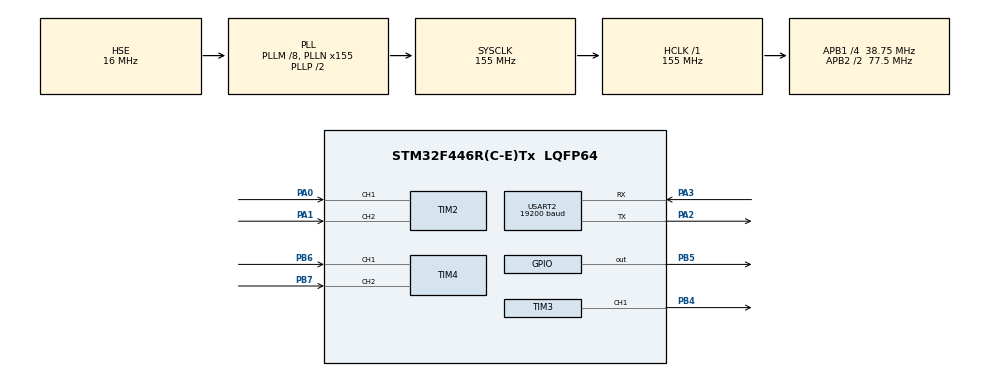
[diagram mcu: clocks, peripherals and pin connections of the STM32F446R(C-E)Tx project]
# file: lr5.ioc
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Mcu.Family=STM32F4
RCC.PLLSourceVirtual=RCC_PLLSOURCE_HSE
PH0-OSC_IN.Signal=RCC_OSC_IN
RCC.CortexFreq_Value=155000000
Dma.USART2_TX.0.MemInc=DMA_MINC_ENABLE
Dma.USART2_TX.0.PeriphDataAlignment=DMA_PDATAALIGN_BYTE
TIM4.IC2Filter=5
RCC.APB1CLKDivider=RCC_HCLK_DIV4
NVIC.USART2_IRQn=true\:0\:0\:false\:false\:true\:true\:true
USART2.BaudRate=19200
Dma.USART2_TX.0.FIFOMode=DMA_FIFOMODE_DISABLE
RCC.SYSCLKSource=RCC_SYSCLKSOURCE_PLLCLK
ProjectManager.StackSize=0x400
PA0-WKUP.Signal=S_TIM2_CH1_ETR
VP_TIM7_VS_ClockSourceINT.Mode=Enable_Timer
PA3.Mode=Asynchronous
SH.S_TIM2_CH2.0=TIM2_CH2,Encoder_Interface
Dma.USART2_TX.0.Priority=DMA_PRIORITY_LOW
ProjectManager.TargetToolchain=STM32CubeIDE
RCC.HCLKFreq_Value=155000000
RCC.APB2TimFreq_Value=155000000
TIM3.Period=99
PB6.Signal=S_TIM4_CH1
RCC.USBFreq_Value=155000000
PA1.Signal=S_TIM2_CH2
RCC.AHBFreq_Value=155000000
PH0-OSC_IN.Mode=HSE-External-Oscillator
TIM3.Channel-PWM\ Generation1\ CH1=TIM_CHANNEL_1
RCC.HSE_VALUE=16000000
board=custom
RCC.VCOOutputFreq_Value=310000000
RCC.APB2Freq_Value=77500000
TIM3.Prescaler=1549
PH1-OSC_OUT.Signal=RCC_OSC_OUT
SH.S_TIM4_CH2.0=TIM4_CH2,Encoder_Interface
PB7.Signal=S_TIM4_CH2
Dma.USART2_TX.0.MemDataAlignment=DMA_MDATAALIGN_BYTE
SH.S_TIM3_CH1.0=TIM3_CH1,PWM Generation1 CH1
Dma.USART2_TX.0.Direction=DMA_MEMORY_TO_PERIPH
Mcu.Name=STM32F446R(C-E)Tx
Dma.USART2_TX.0.Instance=DMA1_Stream6
PA2.Signal=USART2_TX
PH1-OSC_OUT.Mode=HSE-External-Oscillator
RCC.SYSCLKFreq_VALUE=155000000
Mcu.Package=LQFP64
PB5.Signal=GPIO_Output
Dma.USART2_TX.0.PeriphInc=DMA_PINC_DISABLE
USART2.VirtualMode=VM_ASYNC
SH.S_TIM2_CH1_ETR.0=TIM2_CH1,Encoder_Interface
ProjectManager.HeapSize=0x200
Dma.USART2_TX.0.Mode=DMA_NORMAL
NVIC.PriorityGroup=NVIC_PRIORITYGROUP_4
RCC.APB2CLKDivider=RCC_HCLK_DIV2
RCC.PLLM=8
RCC.PLLN=155
SH.S_TIM4_CH1.0=TIM4_CH1,Encoder_Interface
RCC.APB1TimFreq_Value=77500000
PA2.Mode=Asynchronous
Dma.Request0=USART2_TX
NVIC.DMA1_Stream6_IRQn=true\:0\:0\:false\:false\:true\:false\:true
RCC.APB1Freq_Value=38750000
NVIC.TIM7_IRQn=true\:0\:0\:false\:false\:true\:true\:true
VP_TIM3_VS_ClockSourceINT.Mode=Internal
PB4.Signal=S_TIM3_CH1
PA3.Signal=USART2_RX
TIM4.IC1Prescaler=TIM_ICPSC_DIV2

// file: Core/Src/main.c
/* USER CODE BEGIN Header */
/**
  ******************************************************************************
  * @file           : main.c
  * @brief          : Main program body
  ******************************************************************************
  * @attention
  *
  * <h2><center>&copy; Copyright (c) 2023 STMicroelectronics.
  * All rights reserved.</center></h2>
  *
  * This software component is licensed by ST under BSD 3-Clause license,
  * the "License"; You may not use this file except in compliance with the
  * License. You may obtain a copy of the License at:
  *                        opensource.org/licenses/BSD-3-Clause
  *
  ******************************************************************************
  */
/* USER CODE END Header */
#include "main.h"

TIM_HandleTypeDef htim2;
TIM_HandleTypeDef htim3;
TIM_HandleTypeDef htim4;
TIM_HandleTypeDef htim7;

UART_HandleTypeDef huart2;
DMA_HandleTypeDef hdma_usart2_tx;

void SystemClock_Config(void);
static void MX_GPIO_Init(void);
static void MX_DMA_Init(void);
static void MX_TIM2_Init(void);
static void MX_TIM3_Init(void);
static void MX_TIM4_Init(void);
static void MX_TIM7_Init(void);
static void MX_USART2_UART_Init(void);

/* USER CODE BEGIN 0 */
int16_t motor_enc_prev = 0;
int16_t target_speed;
int16_t max_target_speed = 48;
int16_t motor_enc;
int16_t real_motor_speed;
int16_t speed_error;

int16_t max_duty = 99;
int16_t sum_error = 0;
int16_t integral_error = 0;
int16_t kp = 4;
int16_t ki = 10;

struct __attribute__((__packed__)) tx_struct {
	uint8_t header;
	float target_speed;
	float real_speed;
	float real_pos;
	uint8_t terminator;
};
struct tx_struct tx_buffer = {'N', 0, 0, 0, 'E'};
/* USER CODE END 0 */

int main(void)
{

  /* MCU Configuration--------------------------------------------------------*/

  /* Reset of all peripherals, Initializes the Flash interface and the Systick. */
  HAL_Init();

  /* Configure the system clock */
  SystemClock_Config();

  /* Initialize all configured peripherals */
  MX_GPIO_Init();
  MX_DMA_Init();
  MX_TIM2_Init();
  MX_TIM3_Init();
  MX_TIM4_Init();
  MX_TIM7_Init();
  MX_USART2_UART_Init();
  /* USER CODE BEGIN 2 */

  HAL_TIM_PWM_Start(&htim3, TIM_CHANNEL_1);
  HAL_TIM_Base_Start_IT(&htim7);
  HAL_TIM_Encoder_Start(&htim2, TIM_CHANNEL_ALL);
  HAL_TIM_Encoder_Start(&htim4, TIM_CHANNEL_ALL);

  /* USER CODE END 2 */

  /* Infinite loop */
  while (1)
  {

  }
}

void SystemClock_Config(void)
{
  RCC_OscInitTypeDef RCC_OscInitStruct = {0};
  RCC_ClkInitTypeDef RCC_ClkInitStruct = {0};

  /** Configure the main internal regulator output voltage
  */
  __HAL_RCC_PWR_CLK_ENABLE();
  __HAL_PWR_VOLTAGESCALING_CONFIG(PWR_REGULATOR_VOLTAGE_SCALE1);
  /** Initializes the RCC Oscillators according to the specified parameters
  * in the RCC_OscInitTypeDef structure.
  */
  RCC_OscInitStruct.OscillatorType = RCC_OSCILLATORTYPE_HSE;
  RCC_OscInitStruct.HSEState = RCC_HSE_ON;
  RCC_OscInitStruct.PLL.PLLState = RCC_PLL_ON;
  RCC_OscInitStruct.PLL.PLLSource = RCC_PLLSOURCE_HSE;
  RCC_OscInitStruct.PLL.PLLM = 8;
  RCC_OscInitStruct.PLL.PLLN = 155;
  RCC_OscInitStruct.PLL.PLLP = RCC_PLLP_DIV2;
  RCC_OscInitStruct.PLL.PLLQ = 2;
  RCC_OscInitStruct.PLL.PLLR = 2;
  if (HAL_RCC_OscConfig(&RCC_OscInitStruct) != HAL_OK)
  {
    Error_Handler();
  }
  /** Initializes the CPU, AHB and APB buses clocks
  */
  RCC_ClkInitStruct.ClockType = RCC_CLOCKTYPE_HCLK|RCC_CLOCKTYPE_SYSCLK
                              |RCC_CLOCKTYPE_PCLK1|RCC_CLOCKTYPE_PCLK2;
  RCC_ClkInitStruct.SYSCLKSource = RCC_SYSCLKSOURCE_PLLCLK;
  RCC_ClkInitStruct.AHBCLKDivider = RCC_SYSCLK_DIV1;
  RCC_ClkInitStruct.APB1CLKDivider = RCC_HCLK_DIV4;
  RCC_ClkInitStruct.APB2CLKDivider = RCC_HCLK_DIV2;

  if (HAL_RCC_ClockConfig(&RCC_ClkInitStruct, FLASH_LATENCY_5) != HAL_OK)
  {
    Error_Handler();
  }
}

static void MX_TIM2_Init(void)
{

  TIM_Encoder_InitTypeDef sConfig = {0};
  TIM_MasterConfigTypeDef sMasterConfig = {0};

  htim2.Instance = TIM2;
  htim2.Init.Prescaler = 0;
  htim2.Init.CounterMode = TIM_COUNTERMODE_UP;
  htim2.Init.Period = 4294967295;
  htim2.Init.ClockDivision = TIM_CLOCKDIVISION_DIV1;
  htim2.Init.AutoReloadPreload = TIM_AUTORELOAD_PRELOAD_DISABLE;
  sConfig.EncoderMode = TIM_ENCODERMODE_TI1;
  sConfig.IC1Polarity = TIM_ICPOLARITY_RISING;
  sConfig.IC1Selection = TIM_ICSELECTION_DIRECTTI;
  sConfig.IC1Prescaler = TIM_ICPSC_DIV1;
  sConfig.IC1Filter = 0;
  sConfig.IC2Polarity = TIM_ICPOLARITY_RISING;
  sConfig.IC2Selection = TIM_ICSELECTION_DIRECTTI;
  sConfig.IC2Prescaler = TIM_ICPSC_DIV1;
  sConfig.IC2Filter = 0;
  if (HAL_TIM_Encoder_Init(&htim2, &sConfig) != HAL_OK)
  {
    Error_Handler();
  }
  sMasterConfig.MasterOutputTrigger = TIM_TRGO_RESET;
  sMasterConfig.MasterSlaveMode = TIM_MASTERSLAVEMODE_DISABLE;
  if (HAL_TIMEx_MasterConfigSynchronization(&htim2, &sMasterConfig) != HAL_OK)
  {
    Error_Handler();
  }

}

static void MX_TIM3_Init(void)
{

  TIM_ClockConfigTypeDef sClockSourceConfig = {0};
  TIM_MasterConfigTypeDef sMasterConfig = {0};
  TIM_OC_InitTypeDef sConfigOC = {0};

  htim3.Instance = TIM3;
  htim3.Init.Prescaler = 1549;
  htim3.Init.CounterMode = TIM_COUNTERMODE_UP;
  htim3.Init.Period = 99;
  htim3.Init.ClockDivision = TIM_CLOCKDIVISION_DIV1;
  htim3.Init.AutoReloadPreload = TIM_AUTORELOAD_PRELOAD_DISABLE;
  if (HAL_TIM_Base_Init(&htim3) != HAL_OK)
  {
    Error_Handler();
  }
  sClockSourceConfig.ClockSource = TIM_CLOCKSOURCE_INTERNAL;
  if (HAL_TIM_ConfigClockSource(&htim3, &sClockSourceConfig) != HAL_OK)
  {
    Error_Handler();
  }
  if (HAL_TIM_PWM_Init(&htim3) != HAL_OK)
  {
    Error_Handler();
  }
  sMasterConfig.MasterOutputTrigger = TIM_TRGO_RESET;
  sMasterConfig.MasterSlaveMode = TIM_MASTERSLAVEMODE_DISABLE;
  if (HAL_TIMEx_MasterConfigSynchronization(&htim3, &sMasterConfig) != HAL_OK)
  {
    Error_Handler();
  }
  sConfigOC.OCMode = TIM_OCMODE_PWM1;
  sConfigOC.Pulse = 0;
  sConfigOC.OCPolarity = TIM_OCPOLARITY_HIGH;
  sConfigOC.OCFastMode = TIM_OCFAST_DISABLE;
  if (HAL_TIM_PWM_ConfigChannel(&htim3, &sConfigOC, TIM_CHANNEL_1) != HAL_OK)
  {
    Error_Handler();
  }
  HAL_TIM_MspPostInit(&htim3);

}

static void MX_TIM4_Init(void)
{

  TIM_Encoder_InitTypeDef sConfig = {0};
  TIM_MasterConfigTypeDef sMasterConfig = {0};

  htim4.Instance = TIM4;
  htim4.Init.Prescaler = 0;
  htim4.Init.CounterMode = TIM_COUNTERMODE_UP;
  htim4.Init.Period = 65535;
  htim4.Init.ClockDivision = TIM_CLOCKDIVISION_DIV1;
  htim4.Init.AutoReloadPreload = TIM_AUTORELOAD_PRELOAD_DISABLE;
  sConfig.EncoderMode = TIM_ENCODERMODE_TI1;
  sConfig.IC1Polarity = TIM_ICPOLARITY_RISING;
  sConfig.IC1Selection = TIM_ICSELECTION_DIRECTTI;
  sConfig.IC1Prescaler = TIM_ICPSC_DIV2;
  sConfig.IC1Filter = 0;
  sConfig.IC2Polarity = TIM_ICPOLARITY_RISING;
  sConfig.IC2Selection = TIM_ICSELECTION_DIRECTTI;
  sConfig.IC2Prescaler = TIM_ICPSC_DIV1;
  sConfig.IC2Filter = 5;
  if (HAL_TIM_Encoder_Init(&htim4, &sConfig) != HAL_OK)
  {
    Error_Handler();
  }
  sMasterConfig.MasterOutputTrigger = TIM_TRGO_RESET;
  sMasterConfig.MasterSlaveMode = TIM_MASTERSLAVEMODE_DISABLE;
  if (HAL_TIMEx_MasterConfigSynchronization(&htim4, &sMasterConfig) != HAL_OK)
  {
    Error_Handler();
  }

}

static void MX_TIM7_Init(void)
{

  TIM_MasterConfigTypeDef sMasterConfig = {0};

  htim7.Instance = TIM7;
  htim7.Init.Prescaler = 0;
  htim7.Init.CounterMode = TIM_COUNTERMODE_UP;
  htim7.Init.Period = 65535;
  htim7.Init.AutoReloadPreload = TIM_AUTORELOAD_PRELOAD_DISABLE;
  if (HAL_TIM_Base_Init(&htim7) != HAL_OK)
  {
    Error_Handler();
  }
  sMasterConfig.MasterOutputTrigger = TIM_TRGO_RESET;
  sMasterConfig.MasterSlaveMode = TIM_MASTERSLAVEMODE_DISABLE;
  if (HAL_TIMEx_MasterConfigSynchronization(&htim7, &sMasterConfig) != HAL_OK)
  {
    Error_Handler();
  }

}

static void MX_USART2_UART_Init(void)
{

  huart2.Instance = USART2;
  huart2.Init.BaudRate = 19200;
  huart2.Init.WordLength = UART_WORDLENGTH_8B;
  huart2.Init.StopBits = UART_STOPBITS_1;
  huart2.Init.Parity = UART_PARITY_NONE;
  huart2.Init.Mode = UART_MODE_TX_RX;
  huart2.Init.HwFlowCtl = UART_HWCONTROL_NONE;
  huart2.Init.OverSampling = UART_OVERSAMPLING_16;
  if (HAL_UART_Init(&huart2) != HAL_OK)
  {
    Error_Handler();
  }

}

static void MX_DMA_Init(void)
{

  /* DMA controller clock enable */
  __HAL_RCC_DMA1_CLK_ENABLE();

  /* DMA interrupt init */
  /* DMA1_Stream6_IRQn interrupt configuration */
  HAL_NVIC_SetPriority(DMA1_Stream6_IRQn, 0, 0);
  HAL_NVIC_EnableIRQ(DMA1_Stream6_IRQn);

}

static void MX_GPIO_Init(void)
{
  GPIO_InitTypeDef GPIO_InitStruct = {0};

  /* GPIO Ports Clock Enable */
  __HAL_RCC_GPIOH_CLK_ENABLE();
  __HAL_RCC_GPIOA_CLK_ENABLE();
  __HAL_RCC_GPIOB_CLK_ENABLE();

  /*Configure GPIO pin Output Level */
  HAL_GPIO_WritePin(GPIOB, GPIO_PIN_5, GPIO_PIN_RESET);

  /*Configure GPIO pin : PB5 */
  GPIO_InitStruct.Pin = GPIO_PIN_5;
  GPIO_InitStruct.Mode = GPIO_MODE_OUTPUT_PP;
  GPIO_InitStruct.Pull = GPIO_NOPULL;
  GPIO_InitStruct.Speed = GPIO_SPEED_FREQ_LOW;
  HAL_GPIO_Init(GPIOB, &GPIO_InitStruct);

}

/* USER CODE BEGIN 4 */

void set_duty (int16_t duty) {
	if (duty > 0) {
		HAL_GPIO_WritePin(GPIOB, GPIO_PIN_5, 0);
		__HAL_TIM_SET_COMPARE(&htim3, TIM_CHANNEL_1, duty);
	}
	else if (duty < 0) {
		HAL_GPIO_WritePin(GPIOB, GPIO_PIN_5, 1);
		__HAL_TIM_SET_COMPARE(&htim3, TIM_CHANNEL_1, -duty);
	}
	else {
		__HAL_TIM_SET_COMPARE(&htim3, TIM_CHANNEL_1, 0);
	}
}

void HAL_TIM_PeriodElapsedCallback(TIM_HandleTypeDef* htim)
{
	target_speed = __HAL_TIM_GET_COUNTER(&htim4);
	motor_enc = __HAL_TIM_GET_COUNTER(&htim2);
	real_motor_speed = motor_enc - motor_enc_prev;

	if (target_speed > max_target_speed) {
		target_speed = max_target_speed;
		__HAL_TIM_SET_COUNTER(&htim4, target_speed);
	}
	else if (target_speed < -max_target_speed) {
		target_speed = -max_target_speed;
		__HAL_TIM_SET_COUNTER(&htim4, target_speed);
	}

	speed_error = target_speed - real_motor_speed;

	tx_buffer.target_speed = target_speed;
	tx_buffer.real_speed = real_motor_speed;
	tx_buffer.real_pos = motor_enc;
	HAL_UART_Transmit_DMA (&huart2, (uint8_t*)&tx_buffer, sizeof(tx_buffer));

	integral_error += speed_error/ki;
	sum_error = kp*speed_error + integral_error;
	if (sum_error > max_duty) sum_error = max_duty;
	if (sum_error < -max_duty) sum_error = -max_duty;

	set_duty(sum_error);
	motor_enc_prev = motor_enc;
}

/* USER CODE END 4 */

void Error_Handler(void)
{
  __disable_irq();
  while (1)
  {
  }
}

/************************ (C) COPYRIGHT STMicroelectronics *****END OF FILE****/
